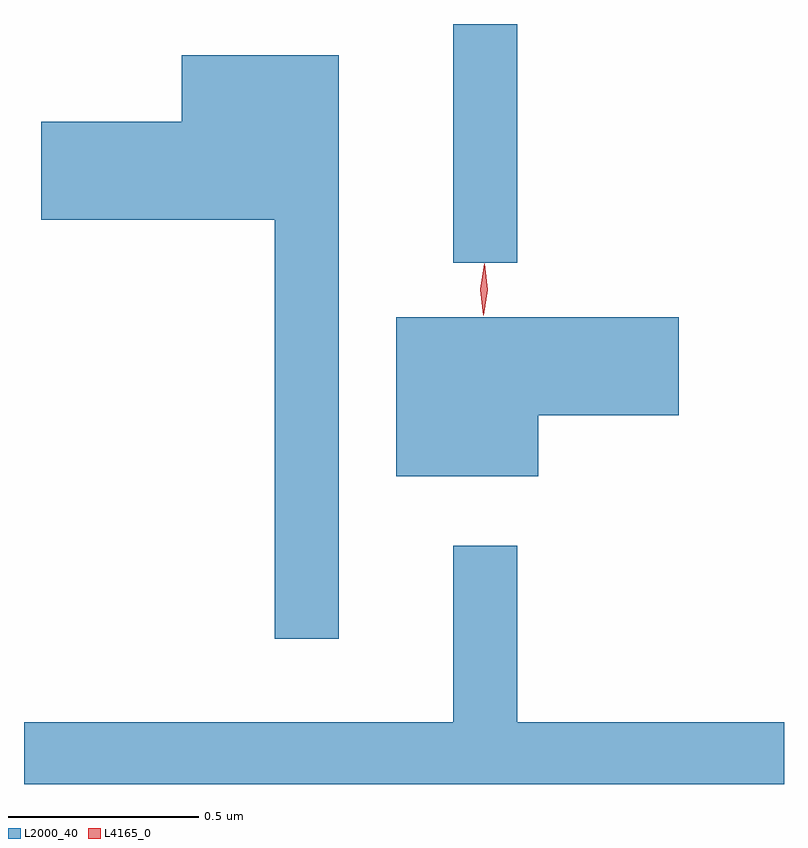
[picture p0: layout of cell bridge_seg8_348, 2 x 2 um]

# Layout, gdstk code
import gdstk
lib = gdstk.Library(unit=1e-6, precision=1e-09)
def R(c, l, rs):  # rectangles x0, y0, x1, y1
    for r in rs: c.add(gdstk.rectangle(r[:2], r[2:], *l))
def P(c, l, *ps):  # polygons
    for p in ps: c.add(gdstk.Polygon(p, *l))
L2000_40 = (2000, 40)
L4165_0 = (4165, 0)

bridge_seg8_348 = lib.new_cell('bridge_seg8_348')
R(bridge_seg8_348, L2000_40, [(883.491,1908.933,883.659,1909.561)])
P(bridge_seg8_348, L2000_40, [(883.189,1909.479),(882.776,1909.479),(882.776,1909.304),(882.406,1909.304),(882.406,1909.046),(883.021,1909.046),(883.021,1907.943),(883.189,1907.943)],
  [(883.714,1908.531),(884.084,1908.531),(884.084,1908.789),(883.341,1908.789),(883.341,1908.371),(883.714,1908.371)],
  [(884.361,1907.724),(883.659,1907.724),(883.659,1908.188),(883.491,1908.188),(883.491,1907.724),(882.361,1907.724),(882.361,1907.561),(884.361,1907.561)])
P(bridge_seg8_348, L4165_0, [(883.57,1908.794),(883.57,1908.794),(883.561,1908.862),(883.572,1908.93),(883.572,1908.93),(883.573,1908.93),(883.581,1908.862),(883.571,1908.794)],
  [(883.57,1908.8),(883.57,1908.801),(883.561,1908.864),(883.572,1908.926),(883.572,1908.927),(883.573,1908.926),(883.581,1908.863),(883.571,1908.801)])

lib.write_gds('bridge_seg8_348.gds')
